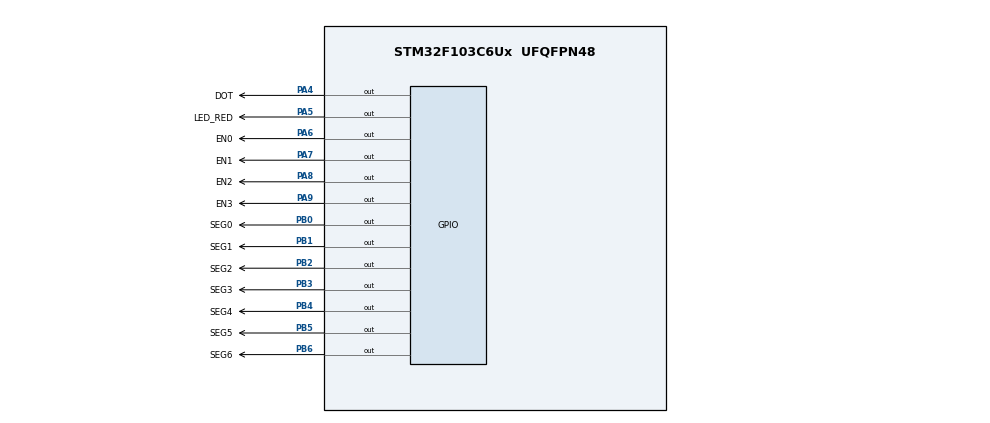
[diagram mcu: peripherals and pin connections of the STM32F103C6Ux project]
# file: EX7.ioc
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Mcu.Family=STM32F1
Mcu.Name=STM32F103C6Ux
Mcu.Package=UFQFPN48
NVIC.PriorityGroup=NVIC_PRIORITYGROUP_4
NVIC.TIM2_IRQn=true\:0\:0\:false\:false\:true\:true\:true
PA4.GPIO_Label=DOT
PA4.Signal=GPIO_Output
PA5.GPIO_Label=LED_RED
PA5.Signal=GPIO_Output
PA6.GPIO_Label=EN0
PA6.Signal=GPIO_Output
PA7.GPIO_Label=EN1
PA7.Signal=GPIO_Output
PA8.GPIO_Label=EN2
PA8.Signal=GPIO_Output
PA9.GPIO_Label=EN3
PA9.Signal=GPIO_Output
PB0.GPIO_Label=SEG0
PB0.Signal=GPIO_Output
PB1.GPIO_Label=SEG1
PB1.Signal=GPIO_Output
PB2.GPIO_Label=SEG2
PB2.Signal=GPIO_Output
PB3.GPIO_Label=SEG3
PB3.Signal=GPIO_Output
PB4.GPIO_Label=SEG4
PB4.Signal=GPIO_Output
PB5.GPIO_Label=SEG5
PB5.Signal=GPIO_Output
PB6.GPIO_Label=SEG6
PB6.Signal=GPIO_Output
ProjectManager.HeapSize=0x200
ProjectManager.StackSize=0x400
ProjectManager.TargetToolchain=STM32CubeIDE
RCC.APB1Freq_Value=8000000
RCC.APB2Freq_Value=8000000
TIM2.Period=9
TIM2.Prescaler=7999
VP_SYS_VS_ND.Mode=No_Debug
VP_TIM2_VS_ClockSourceINT.Mode=Internal
board=custom

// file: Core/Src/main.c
/* USER CODE BEGIN Header */
/**
  ******************************************************************************
  * @file           : main.c
  * @brief          : Main program body
  ******************************************************************************
  * @attention
  *
  * <h2><center>&copy; Copyright (c) 2022 STMicroelectronics.
  * All rights reserved.</center></h2>
  *
  * This software component is licensed by ST under BSD 3-Clause license,
  * the "License"; You may not use this file except in compliance with the
  * License. You may obtain a copy of the License at:
  *                        opensource.org/licenses/BSD-3-Clause
  *
  ******************************************************************************
  */
/* USER CODE END Header */
#include "main.h"

TIM_HandleTypeDef htim2;

void SystemClock_Config(void);
static void MX_GPIO_Init(void);
static void MX_TIM2_Init(void);

/* USER CODE BEGIN 0 */
//setTimer0
int timer0_counter=0;
int timer0_flag=0;
int timer_cycle=10;
void setTimer0(int duration){
	timer0_counter=duration/timer_cycle;
	timer0_flag=0;
}
//setTimer1
int timer1_counter=0;
int timer1_flag=0;
void setTimer1(int duration){
	timer1_counter=duration/timer_cycle;
	timer1_flag=0;
}
void timer_run(){
	if(timer0_counter>0){
		timer0_counter--;
		if(timer0_counter<=0){
			timer0_flag=1;
		}
	}
	if(timer1_counter>0){
		timer1_counter--;
		if(timer1_counter<=0){
			timer1_flag=1;
		}
	}
}
/* USER CODE END 0 */

int main(void)
{

  /* MCU Configuration--------------------------------------------------------*/

  /* Reset of all peripherals, Initializes the Flash interface and the Systick. */
  HAL_Init();

  /* Configure the system clock */
  SystemClock_Config();

  /* Initialize all configured peripherals */
  MX_GPIO_Init();
  MX_TIM2_Init();
  /* USER CODE BEGIN 2 */
  HAL_TIM_Base_Start_IT (& htim2 ) ;
  /* USER CODE END 2 */

  /* Infinite loop */
  /* USER CODE BEGIN WHILE */
  void display7SEG(int count){
	  // ma hex display7Seg cua 0 den 10
	  int16_t array[10]={
			0x40,	//0
			0x79,	//1
			0x24,	//2
			0x30,	//3
			0x19,	//4
			0x12,	//5
			0x2,	//6
			0x78,	//7
			0x0,	//8
			0x10	//9
	  };
	  //day gia tri ma hex cua so can hien thi vao thanh ghi
	  GPIOB->ODR=array[count];
}
  int hour=15, minute=8,second=50;
  int led_buffer [4] = {1 , 2 , 3 , 4};
  int state_led=0;
  void updateClockBUffer(){
	  led_buffer[0]=hour/10;
	  led_buffer[1]=hour-10*(hour/10);
	  led_buffer[2]=minute/10;
	  led_buffer[3]=minute-10*(minute/10);
  }
  //set timer cho 4 led7segment
  setTimer0(1000);
  //set timer cho 2 den led
  setTimer1(1000);
  while (1)
  {
    /* USER CODE END WHILE */
	  //hien thi gia tri cua 4 led7segment
	  if(timer0_flag==1){
		  setTimer0(1000);
		  second++;
		  if(second>=60){
		  	second=0;
		  	minute++;
		  }
		  if(minute>=60){
		  	minute=0;
		  	hour++;
		  }
		  if(hour>=24){
		  	hour=0;
		  }
		  updateClockBUffer();
		  display7SEG(led_buffer[0]);
	  }
	  //bat tat moi den led moi 500ms
	  if(timer1_flag==1){
		  setTimer1(500);
			if(state_led==0){
				HAL_GPIO_WritePin(DOT_GPIO_Port, DOT_Pin, 0);
				HAL_GPIO_WritePin(LED_RED_GPIO_Port, LED_RED_Pin, 1);
			}
			if(state_led==1){
					HAL_GPIO_WritePin(DOT_GPIO_Port, DOT_Pin, 1);
					HAL_GPIO_WritePin(LED_RED_GPIO_Port, LED_RED_Pin, 0);
			}
			state_led=1-state_led;
	  }
  }
}

void SystemClock_Config(void)
{
  RCC_OscInitTypeDef RCC_OscInitStruct = {0};
  RCC_ClkInitTypeDef RCC_ClkInitStruct = {0};

  /** Initializes the RCC Oscillators according to the specified parameters
  * in the RCC_OscInitTypeDef structure.
  */
  RCC_OscInitStruct.OscillatorType = RCC_OSCILLATORTYPE_HSI;
  RCC_OscInitStruct.HSIState = RCC_HSI_ON;
  RCC_OscInitStruct.HSICalibrationValue = RCC_HSICALIBRATION_DEFAULT;
  RCC_OscInitStruct.PLL.PLLState = RCC_PLL_NONE;
  if (HAL_RCC_OscConfig(&RCC_OscInitStruct) != HAL_OK)
  {
    Error_Handler();
  }
  /** Initializes the CPU, AHB and APB buses clocks
  */
  RCC_ClkInitStruct.ClockType = RCC_CLOCKTYPE_HCLK|RCC_CLOCKTYPE_SYSCLK
                              |RCC_CLOCKTYPE_PCLK1|RCC_CLOCKTYPE_PCLK2;
  RCC_ClkInitStruct.SYSCLKSource = RCC_SYSCLKSOURCE_HSI;
  RCC_ClkInitStruct.AHBCLKDivider = RCC_SYSCLK_DIV1;
  RCC_ClkInitStruct.APB1CLKDivider = RCC_HCLK_DIV1;
  RCC_ClkInitStruct.APB2CLKDivider = RCC_HCLK_DIV1;

  if (HAL_RCC_ClockConfig(&RCC_ClkInitStruct, FLASH_LATENCY_0) != HAL_OK)
  {
    Error_Handler();
  }
}

static void MX_TIM2_Init(void)
{

  TIM_ClockConfigTypeDef sClockSourceConfig = {0};
  TIM_MasterConfigTypeDef sMasterConfig = {0};

  htim2.Instance = TIM2;
  htim2.Init.Prescaler = 7999;
  htim2.Init.CounterMode = TIM_COUNTERMODE_UP;
  htim2.Init.Period = 9;
  htim2.Init.ClockDivision = TIM_CLOCKDIVISION_DIV1;
  htim2.Init.AutoReloadPreload = TIM_AUTORELOAD_PRELOAD_DISABLE;
  if (HAL_TIM_Base_Init(&htim2) != HAL_OK)
  {
    Error_Handler();
  }
  sClockSourceConfig.ClockSource = TIM_CLOCKSOURCE_INTERNAL;
  if (HAL_TIM_ConfigClockSource(&htim2, &sClockSourceConfig) != HAL_OK)
  {
    Error_Handler();
  }
  sMasterConfig.MasterOutputTrigger = TIM_TRGO_RESET;
  sMasterConfig.MasterSlaveMode = TIM_MASTERSLAVEMODE_DISABLE;
  if (HAL_TIMEx_MasterConfigSynchronization(&htim2, &sMasterConfig) != HAL_OK)
  {
    Error_Handler();
  }

}

static void MX_GPIO_Init(void)
{
  GPIO_InitTypeDef GPIO_InitStruct = {0};

  /* GPIO Ports Clock Enable */
  __HAL_RCC_GPIOA_CLK_ENABLE();
  __HAL_RCC_GPIOB_CLK_ENABLE();

  /*Configure GPIO pin Output Level */
  HAL_GPIO_WritePin(GPIOA, DOT_Pin|LED_RED_Pin|EN0_Pin|EN1_Pin
                          |EN2_Pin|EN3_Pin, GPIO_PIN_RESET);

  /*Configure GPIO pin Output Level */
  HAL_GPIO_WritePin(GPIOB, SEG0_Pin|SEG1_Pin|SEG2_Pin|SEG3_Pin
                          |SEG4_Pin|SEG5_Pin|SEG6_Pin, GPIO_PIN_RESET);

  /*Configure GPIO pins : DOT_Pin LED_RED_Pin EN0_Pin EN1_Pin
                           EN2_Pin EN3_Pin */
  GPIO_InitStruct.Pin = DOT_Pin|LED_RED_Pin|EN0_Pin|EN1_Pin
                          |EN2_Pin|EN3_Pin;
  GPIO_InitStruct.Mode = GPIO_MODE_OUTPUT_PP;
  GPIO_InitStruct.Pull = GPIO_NOPULL;
  GPIO_InitStruct.Speed = GPIO_SPEED_FREQ_LOW;
  HAL_GPIO_Init(GPIOA, &GPIO_InitStruct);

  /*Configure GPIO pins : SEG0_Pin SEG1_Pin SEG2_Pin SEG3_Pin
                           SEG4_Pin SEG5_Pin SEG6_Pin */
  GPIO_InitStruct.Pin = SEG0_Pin|SEG1_Pin|SEG2_Pin|SEG3_Pin
                          |SEG4_Pin|SEG5_Pin|SEG6_Pin;
  GPIO_InitStruct.Mode = GPIO_MODE_OUTPUT_PP;
  GPIO_InitStruct.Pull = GPIO_NOPULL;
  GPIO_InitStruct.Speed = GPIO_SPEED_FREQ_LOW;
  HAL_GPIO_Init(GPIOB, &GPIO_InitStruct);

}

/* USER CODE BEGIN 4 */
void HAL_TIM_PeriodElapsedCallback ( TIM_HandleTypeDef * htim ){
	timer_run();
}
/* USER CODE END 4 */

void Error_Handler(void)
{
  __disable_irq();
  while (1)
  {
  }
}

/************************ (C) COPYRIGHT STMicroelectronics *****END OF FILE****/
